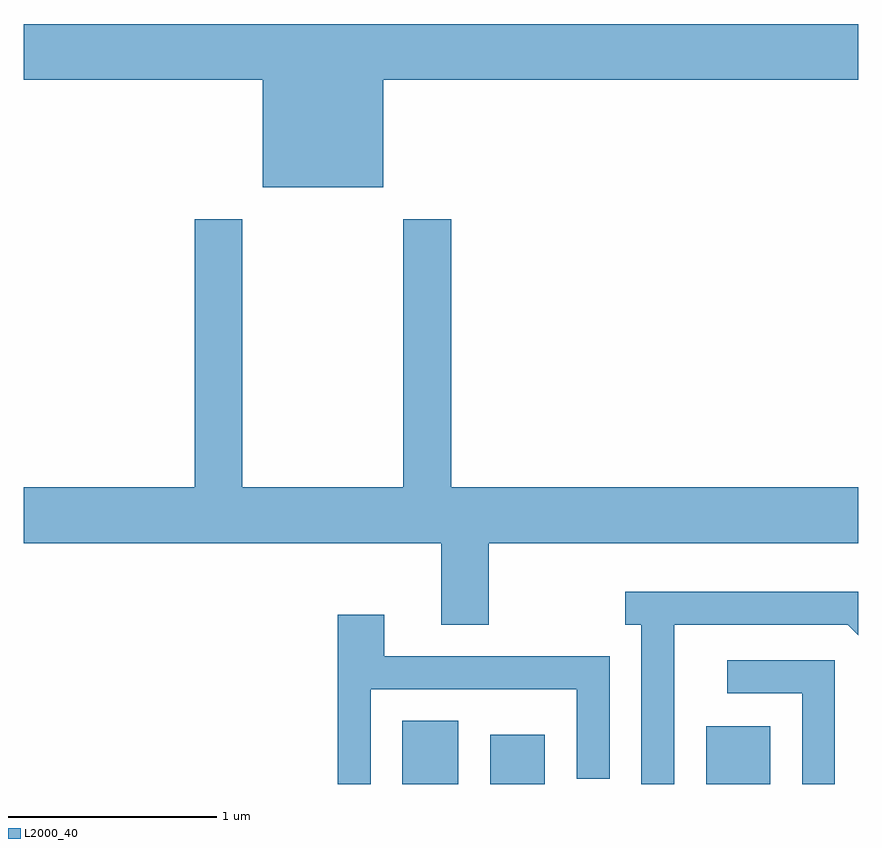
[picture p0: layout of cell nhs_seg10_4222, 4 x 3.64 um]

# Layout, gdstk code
import gdstk
lib = gdstk.Library(unit=1e-6, precision=1e-09)
def R(c, l, rs):  # rectangles x0, y0, x1, y1
    for r in rs: c.add(gdstk.rectangle(r[:2], r[2:], *l))
def P(c, l, *ps):  # polygons
    for p in ps: c.add(gdstk.Polygon(p, *l))
L2000_40 = (2000, 40)

nhs_seg10_4222 = lib.new_cell('nhs_seg10_4222')
R(nhs_seg10_4222, L2000_40, [(311.426,2130.522,311.694,2130.824), (311.846,2130.522,312.109,2130.759), (312.881,2130.522,313.189,2130.799)])
P(nhs_seg10_4222, L2000_40, [(311.334,2133.896),(313.611,2133.896),(313.611,2134.164),(309.611,2134.164),(309.611,2133.896),(310.756,2133.896),(310.756,2133.381),(311.334,2133.381)],
  [(311.839,2131.676),(313.611,2131.676),(313.611,2131.944),(311.659,2131.944),(311.659,2133.229),(311.431,2133.229),(311.431,2131.944),(310.659,2131.944),(310.659,2133.229),(310.431,2133.229),(310.431,2131.944),(309.611,2131.944),(309.611,2131.676),(311.611,2131.676),(311.611,2131.286),(311.839,2131.286)],
  [(312.729,2131.286),(313.559,2131.286),(313.611,2131.234),(313.611,2131.444),(312.493,2131.444),(312.493,2131.286),(312.571,2131.286),(312.571,2130.522),(312.729,2130.522)],
  [(311.274,2130.976),(312.261,2130.976),(312.261,2130.548),(312.419,2130.548),(312.419,2131.134),(311.339,2131.134),(311.339,2131.334),(311.116,2131.334),(311.116,2130.522),(311.274,2130.522)],
  [(313.499,2131.114),(312.983,2131.114),(312.983,2130.956),(313.341,2130.956),(313.341,2130.522),(313.499,2130.522)])

lib.write_gds('nhs_seg10_4222.gds')
